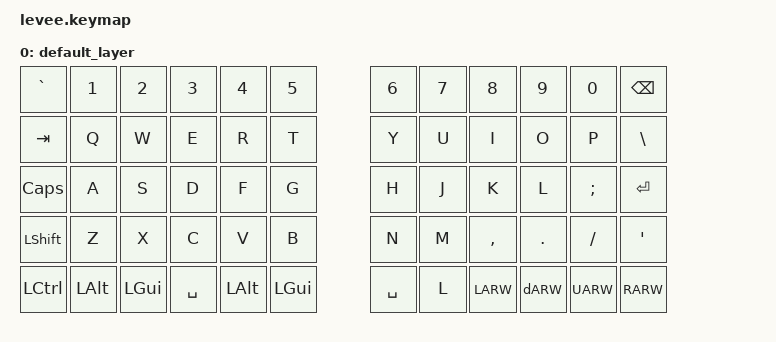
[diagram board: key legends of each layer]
// This file was generated from a template. Edit it to match your keyboard.
// See https://zmk.dev/docs/development/hardware-integration/new-shield for more instructions.

#include <behaviors.dtsi>
#include <dt-bindings/zmk/keys.h>

/ {
    // Define a default keymap here.
    // See https://zmk.dev/docs/development/hardware-integration/new-shield#default-keymap.
    keymap {
        compatible = "zmk,keymap";

        default_layer {
            bindings = <
                &kp GRAVE  &kp N1    &kp N2    &kp N3     &kp N4    &kp N5           &kp N6     &kp N7  &kp N8     &kp N9    &kp N0    &kp BSPC
                &kp TAB    &kp Q     &kp W     &kp E      &kp R     &kp T            &kp Y      &kp U   &kp I      &kp O     &kp P     &kp BSLH
                &kp CAPS   &kp A     &kp S     &kp D      &kp F     &kp G            &kp H      &kp J   &kp K      &kp L     &kp SEMI  &kp RET
                &kp LSHFT  &kp Z     &kp X     &kp C      &kp V     &kp B            &kp N      &kp M   &kp COMMA  &kp DOT   &kp FSLH  &kp APOS
                &kp LCTRL  &kp LALT  &kp LGUI  &kp SPACE  &kp LALT  &kp LGUI         &kp SPACE  &kp L   &kp LARW   &kp dARW  &kp UARW  &kp RARW
            >;
        };
//        lower_layer {
//            bindings = <
//                &bt BT_SEL 0  &trans  &trans  &trans     &trans     &trans         &trans  &trans    &trans    &trans  &trans  &bt BT_CLR
//                &bt BT_SEL 1  &trans  &trans  &trans     &trans     &trans         &trans  &trans    &trans    &trans  &trans  &trans
//                &bt BT_SEL 2  &trans  &trans  &kp MINUS  &kp EQUAL  &trans         &trans  &kp LBKT  &kp RBKT  &trans  &trans  &trans
//                &bt BT_SEL 3  &trans  &trans  &trans     &trans     &trans         &trans  &trans    &trans    &trans  &trans  &trans
//                &bt BT_SEL 4  &trans  &trans  &trans     &trans     &trans         &trans  &trans    &trans    &trans  &trans  &trans
//            >;
//        };
    };
};
